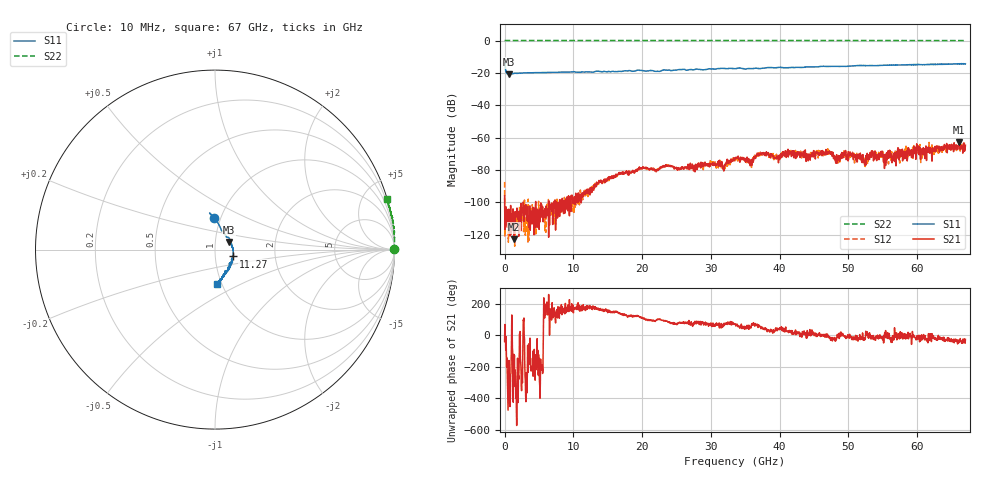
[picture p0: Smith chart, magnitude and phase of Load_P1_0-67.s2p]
!Keysight Technologies,N5247B,MY61256062,A.16.20.04
!Date: Saturday, November 29, 2025 07:06:34
!Correction: S11(C  2-Port  )
!S21(C  2-Port  )
!S12(C  2-Port  )
!S22(C  2-Port  )
!S2P File: Measurements: S11, S21, S12, S22:
# Hz S  dB  R 50
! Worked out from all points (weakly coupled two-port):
!   1601 points, 10 MHz to 67 GHz, reference 50 ohm
!   highest |S21| = -62.74 dB at 66.12 GHz (marker M1); lowest = -122.9 dB at 1.35 GHz (marker M2)
!   lowest |S11| = -20.9 dB at 679.9 MHz (marker M3), VSWR 1.20, Z = 58.4 + j4.93 ohm
!   |S11| at or under -10 dB: start of sweep to end of sweep
!   |S22| runs from 0.0 to 0.0 dB; largest |S21 - S12| = 0.00043
!   S11 on the Smith chart (normalised r, x): 10 MHz: 0.93, +0.34; 11.27 GHz: 1.22, -0.09; 67 GHz: 0.95, -0.37
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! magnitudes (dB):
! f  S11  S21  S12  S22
! 10 MHz  -15.0  -96.0  -87.5  0.0
! 679.9 MHz  -20.9  -106.8  -107.8  0.0
! 1.35 GHz  -20.3  -122.9  -115.3  0.0
! 11.19 GHz  -19.4  -96.8  -96.9  0.0
! 11.27 GHz  -19.4  -96.7  -95.4  0.0
! 22.37 GHz  -19.0  -80.2  -79.1  0.0
! 30.2 GHz  -17.6  -76.8  -76.0  0.0
! 31.87 GHz  -17.3  -80.7  -78.1  0.0
! 33.51 GHz  -17.4  -73.2  -74.4  0.0
! 35.85 GHz  -17.4  -74.3  -73.8  0.0
! 37.4 GHz  -17.2  -70.2  -70.2  0.0
! 39.53 GHz  -16.8  -72.8  -70.4  0.0
! 41.33 GHz  -16.8  -70.4  -70.7  0.0
! 44.68 GHz  -16.4  -69.8  -72.2  0.0
! 47.15 GHz  -16.0  -69.1  -68.5  0.0
! 48.41 GHz  -16.0  -73.6  -75.2  0.0
! 50.34 GHz  -15.8  -70.9  -72.0  0.0
! 52.18 GHz  -15.4  -73.2  -75.2  0.0
! 53.27 GHz  -15.5  -70.8  -69.2  0.0
! 55.86 GHz  -15.2  -72.0  -69.0  0.0
! 66.12 GHz  -14.5  -62.7  -66.2  0.0
! 67 GHz  -14.4  -64.7  -64.2  0.0
